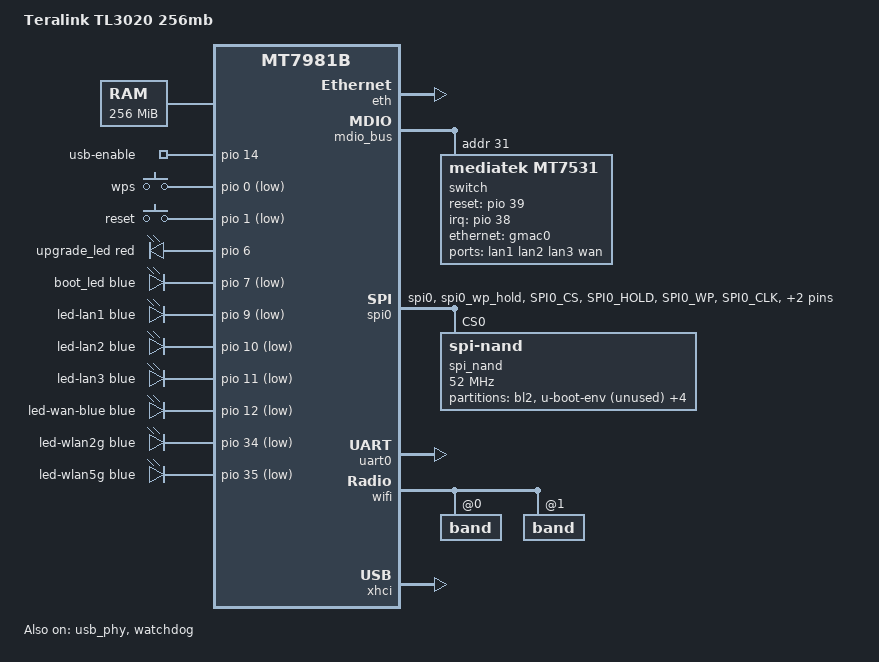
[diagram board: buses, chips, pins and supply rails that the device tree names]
// SPDX-License-Identifier: GPL-2.0-or-later OR MIT
/*
 * Copyright (C) 2026 Fil Dunsky <filipp.dunsky@gmail.com>
 */

/dts-v1/;
#include <dt-bindings/gpio/gpio.h>
#include <dt-bindings/input/input.h>
#include <dt-bindings/leds/common.h>
#include "mt7981b.dtsi"

/ {
	model = "Teralink TL3020 256mb";
	compatible = "teralink,tl3020-256mb", "mediatek,mt7981b";

	aliases {
		led-boot = &boot_led;
		led-failsafe = &upgrade_led;
		led-running = &boot_led;
		led-upgrade = &upgrade_led;
		label-mac-device = &gmac0;
		serial0 = &uart0;
	};

	chosen: chosen {
		rootdisk = <&ubi_fit_volume>;
		stdout-path = "serial0:115200n8";
		bootargs-append = " root=/dev/fit0 rootwait";
	};

	memory@40000000 {
		reg = <0 0x40000000 0 0x10000000>;
		device_type = "memory";
	};

	gpio-export {
		compatible = "gpio-export";

		gpio-0 {
			gpio-export,name = "usb-enable";
			gpio-export,output = <1>;
			gpios = <&pio 14 GPIO_ACTIVE_HIGH>;
		};
	};

	gpio-keys {
		compatible = "gpio-keys";

		button-0 {
			label = "wps";
			/* Reassigned to RF_KILL */
			linux,code = <KEY_RFKILL>;
			gpios = <&pio 0 GPIO_ACTIVE_LOW>;
			debounce-interval = <60>;
		};

		button-1 {
			label = "reset";
			gpios = <&pio 1 GPIO_ACTIVE_LOW>;
			linux,code = <KEY_RESTART>;
			debounce-interval = <60>;
		};
	};

	gpio-leds {
		compatible = "gpio-leds";

		upgrade_led: led-wan-red {
			color = <LED_COLOR_ID_RED>;
			function = LED_FUNCTION_WAN;
			gpios = <&pio 6 GPIO_ACTIVE_HIGH>;
		};

		boot_led: led-power {
			color = <LED_COLOR_ID_BLUE>;
			function = LED_FUNCTION_POWER;
			gpios = <&pio 7 GPIO_ACTIVE_LOW>;
			default-state = "on";
		};

		led-lan1 {
			color = <LED_COLOR_ID_BLUE>;
			function = LED_FUNCTION_LAN;
			function-enumerator = <1>;
			gpios = <&pio 9 GPIO_ACTIVE_LOW>;
		};

		led-lan2 {
			color = <LED_COLOR_ID_BLUE>;
			function = LED_FUNCTION_LAN;
			function-enumerator = <2>;
			gpios = <&pio 10 GPIO_ACTIVE_LOW>;
		};

		led-lan3 {
			color = <LED_COLOR_ID_BLUE>;
			function = LED_FUNCTION_LAN;
			function-enumerator = <3>;
			gpios = <&pio 11 GPIO_ACTIVE_LOW>;
		};

		led-wan-blue {
			color = <LED_COLOR_ID_BLUE>;
			function = LED_FUNCTION_WAN;
			gpios = <&pio 12 GPIO_ACTIVE_LOW>;
		};

		led-wlan2g {
			color = <LED_COLOR_ID_BLUE>;
			function = LED_FUNCTION_WLAN_2GHZ;
			gpios = <&pio 34 GPIO_ACTIVE_LOW>;
			linux,default-trigger = "phy0tpt";
		};

		led-wlan5g {
			color = <LED_COLOR_ID_BLUE>;
			function = LED_FUNCTION_WLAN_5GHZ;
			gpios = <&pio 35 GPIO_ACTIVE_LOW>;
			linux,default-trigger = "phy1tpt";
		};
	};
};

&eth {
	status = "okay";

	gmac0: mac@0 {
		compatible = "mediatek,eth-mac";
		reg = <0>;
		phy-mode = "2500base-x";

		nvmem-cells = <&macaddr_config_707 0>;
		nvmem-cell-names = "mac-address";

		fixed-link {
			speed = <2500>;
			full-duplex;
			pause;
		};
	};
};

&mdio_bus {
	switch: switch@1f {
		compatible = "mediatek,mt7531";
		reg = <31>;
		reset-gpios = <&pio 39 GPIO_ACTIVE_HIGH>;
		interrupt-controller;
		#interrupt-cells = <1>;
		interrupt-parent = <&pio>;
		interrupts = <38 IRQ_TYPE_LEVEL_HIGH>;
	};
};

&spi0 {
	pinctrl-names = "default";
	pinctrl-0 = <&spi0_flash_pins>;
	status = "okay";

	spi_nand: flash@0 {
		compatible = "spi-nand";
		reg = <0>;

		spi-max-frequency = <52000000>;
		spi-tx-bus-width = <4>;
		spi-rx-bus-width = <4>;

		spi-cal-enable;
		spi-cal-mode = "read-data";
		spi-cal-datalen = <7>;
		spi-cal-data = /bits/ 8 <0x53 0x50 0x49 0x4e 0x41 0x4e 0x44>;
		spi-cal-addrlen = <5>;
		spi-cal-addr = /bits/ 32 <0x0 0x0 0x0 0x0 0x0>;

		partitions: partitions {
			compatible = "fixed-partitions";
			#address-cells = <1>;
			#size-cells = <1>;

			partition@0 {
				label = "bl2";
				reg = <0x0 0x100000>;
				read-only;
			};

			partition@100000 {
				label = "u-boot-env (unused)";
				reg = <0x100000 0x80000>;
				read-only;
			};

			partition@180000 {
				label = "factory";
				reg = <0x180000 0x200000>;
				read-only;

				nvmem-layout {
					compatible = "fixed-layout";
					#address-cells = <1>;
					#size-cells = <1>;

					eeprom_factory_0: eeprom@0 {
						reg = <0x0 0x1000>;
					};
				};
			};

			partition@380000 {
				label = "fip";
				reg = <0x380000 0x200000>;
				read-only;
			};

			partition@580000 {
				label = "config2";
				reg = <0x580000 0x100000>;
				read-only;

				nvmem-layout {
					compatible = "fixed-layout";
					#address-cells = <1>;
					#size-cells = <1>;

					macaddr_config_60a: macaddr@60a {
						compatible = "mac-base";
						reg = <0x60a 0x11>;
						#nvmem-cell-cells = <1>;
					};

					macaddr_config_68a: macaddr@68a {
						compatible = "mac-base";
						reg = <0x68a 0x11>;
						#nvmem-cell-cells = <1>;
					};

					macaddr_config_707: macaddr@707 {
						compatible = "mac-base";
						reg = <0x707 0x11>;
						#nvmem-cell-cells = <1>;
					};

					macaddr_config_787: macaddr@787 {
						compatible = "mac-base";
						reg = <0x787 0x11>;
						#nvmem-cell-cells = <1>;
					};
				};
			};

			partition@680000 {
				label = "ubi";
				compatible = "linux,ubi";
				reg = <0x680000 0xf980000>;

				volumes {
					ubi_fit_volume: ubi-volume-fit {
						volname = "fit";
					};

					ubi_ubootenv: ubi-volume-ubootenv {
						volname = "ubootenv";
					};

					ubi_ubootenv2: ubi-volume-ubootenv2 {
						volname = "ubootenv2";
					};
				};
			};
		};
	};
};

&switch {
	ports {
		#address-cells = <1>;
		#size-cells = <0>;

		port@0 {
			reg = <0>;
			label = "lan1";
		};

		port@2 {
			reg = <2>;
			label = "lan2";
		};

		port@3 {
			reg = <3>;
			label = "lan3";
		};

		wan: port@4 {
			reg = <4>;
			label = "wan";

			nvmem-cell-names = "mac-address";
			nvmem-cells = <&macaddr_config_787 0>;
		};

		port@6 {
			reg = <6>;
			ethernet = <&gmac0>;
			phy-mode = "2500base-x";

			fixed-link {
				speed = <2500>;
				full-duplex;
				pause;
			};
		};
	};
};

&pio {
	spi0_flash_pins: spi0-pins {
		mux {
			function = "spi";
			groups = "spi0", "spi0_wp_hold";
		};

		conf-pu {
			pins = "SPI0_CS", "SPI0_HOLD", "SPI0_WP";
			drive-strength = <MTK_DRIVE_8mA>;
			bias-pull-up = <MTK_PUPD_SET_R1R0_11>;
		};

		conf-pd {
			pins = "SPI0_CLK", "SPI0_MOSI", "SPI0_MISO";
			drive-strength = <MTK_DRIVE_8mA>;
			bias-pull-down = <MTK_PUPD_SET_R1R0_11>;
		};
	};
};

&uart0 {
	status = "okay";
};

&usb_phy {
	status = "okay";
};

&watchdog {
	status = "okay";
};

&wifi {
	#address-cells = <1>;
	#size-cells = <0>;
	nvmem-cells = <&eeprom_factory_0>;
	nvmem-cell-names = "eeprom";
	status = "okay";

	band@0 {
		reg = <0>;
		nvmem-cells = <&macaddr_config_68a 0>;
		nvmem-cell-names = "mac-address";
	};

	band@1 {
		reg = <1>;
		nvmem-cells = <&macaddr_config_60a 0>;
		nvmem-cell-names = "mac-address";
	};
};

&xhci {
	mediatek,u3p-dis-msk = <0x1>;
	status = "okay";
};
